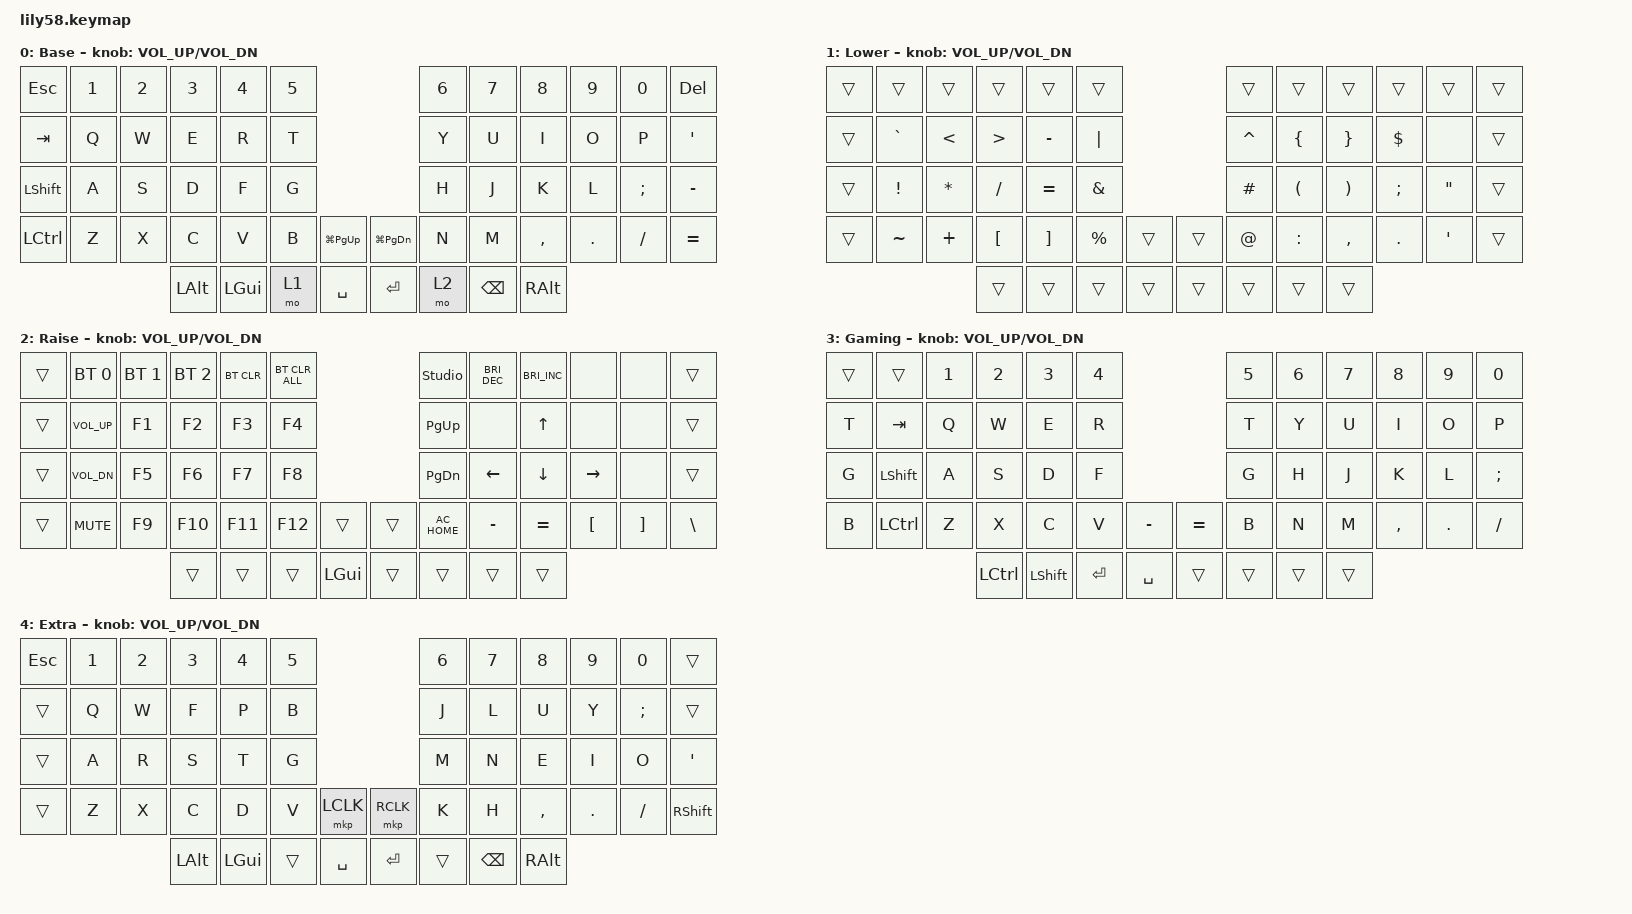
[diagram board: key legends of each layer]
/*
 * Copyright (c) 2020 The ZMK Contributors
 *
 * SPDX-License-Identifier: MIT
 */

#include <behaviors.dtsi>
#include <dt-bindings/zmk/bt.h>
#include <dt-bindings/zmk/keys.h>
#include <dt-bindings/zmk/pointing.h>

#define default_layer 0
#define lower_layer 1
#define raise_layer 2
#define adjust_layer 3
#define extra_layer 4

/ {
    combos {
        compatible = "zmk,combos";

        Gaming {
            bindings = <&tog 3>;
            key-positions = <55 52 3>;
        };

        Default {
            bindings = <&tog 4>;
            key-positions = <52 42 55 4>;
        };

        GotoDefault {
            bindings = <&to 0>;
            key-positions = <1 52 55>;
        };
    };

    keymap {
        compatible = "zmk,keymap";

        default_layer {
            display-name = "Base";

            // ------------------------------------------------------------------------------------------------------------
            // |  ESC  |  1  |  2  |  3   |  4   |  5   |                   |  6   |  7    |  8    |  9   |   0   |   `   |
            // |  TAB  |  Q  |  W  |  E   |  R   |  T   |                   |  Y   |  U    |  I    |  O   |   P   |   -   |
            // |  CTRL |  A  |  S  |  D   |  F   |  G   |                   |  H   |  J    |  K    |  L   |   ;   |   '   |
            // | SHIFT |  Z  |  X  |  C   |  V   |  B   |   "["  |  |  "]"  |  N   |  M    |  ,    |  .   |   /   | SHIFT |
            //                     | ALT  | GUI  | LOWER|  SPACE |  | ENTER | RAISE| BSPC  | GUI   |

            bindings = <
&kp ESC         &kp N1  &kp N2  &kp N3        &kp N4        &kp N5                                        &kp N6  &kp N7         &kp N8     &kp N9   &kp N0    &kp DELETE
&kp TAB         &kp Q   &kp W   &kp E         &kp R         &kp T                                         &kp Y   &kp U          &kp I      &kp O    &kp P     &kp SQT
&kp LEFT_SHIFT  &kp A   &kp S   &kp D         &kp F         &kp G                                         &kp H   &kp J          &kp K      &kp L    &kp SEMI  &kp MINUS
&kp LCTRL       &kp Z   &kp X   &kp C         &kp V         &kp B   &kp LG(PAGE_UP)    &kp LG(PAGE_DOWN)  &kp N   &kp M          &kp COMMA  &kp DOT  &kp FSLH  &kp EQUAL
                                &kp LEFT_ALT  &kp LEFT_GUI  &mo 1   &kp SPACE          &kp RET            &mo 2   &kp BACKSPACE  &kp RALT
            >;

            sensor-bindings = <&inc_dec_kp C_VOL_UP C_VOL_DN>;
        };

        lower_layer {
            display-name = "Lower";

            // ------------------------------------------------------------------------------------------------------------
            // | BTCLR | BT1 | BT2 |  BT3 |  BT4 |  BT5 |                   |      |       |       |      |       |       |
            // |  F1   |  F2 |  F3 |  F4  |  F5  |  F6  |                   |  F7  |  F8   |  F9   |  F10 |  F11  |  F12  |
            // |   `   |  !  |  @  |  #   |  $   |  %   |                   |  ^   |  &    |  *    |  (   |   )   |   ~   |
            // |       |     |     |      |      |      |        |  |       |      |  _    |  +    |  {   |   }   |  "|"  |
            //                     |      |      |      |        |  |       |      |       |       |

            bindings = <
&trans  &trans     &trans         &trans            &trans     &trans                           &trans     &trans                &trans                 &trans      &trans             &trans
&trans  &kp GRAVE  &kp LESS_THAN  &kp GREATER_THAN  &kp MINUS  &kp PIPE                         &kp CARET  &kp LEFT_BRACE        &kp RIGHT_BRACE        &kp DOLLAR  &none              &trans
&trans  &kp EXCL   &kp ASTERISK   &kp FSLH          &kp EQUAL  &kp AMPERSAND                    &kp HASH   &kp LEFT_PARENTHESIS  &kp RIGHT_PARENTHESIS  &kp SEMI    &kp DOUBLE_QUOTES  &trans
&trans  &kp TILDE  &kp PLUS       &kp LBKT          &kp RBKT   &kp PERCENT    &trans    &trans  &kp AT     &kp COLON             &kp COMMA              &kp DOT     &kp SQT            &trans
                                  &trans            &trans     &trans         &trans    &trans  &trans     &trans                &trans
            >;

            sensor-bindings = <&inc_dec_kp C_VOL_UP C_VOL_DN>;
        };

        raise_layer {
            display-name = "Raise";

            // ------------------------------------------------------------------------------------------------------------
            // |       |     |     |      |      |      |                   |      |       |       |      |       |       |
            // |   `   |  1  |  2  |  3   |  4   |  5   |                   |  6   |   7   |   8   |  9   |   0   |       |
            // |   F1  |  F2 |  F3 |  F4  |  F5  |  F6  |                   |      |   <-  |   v   |  ^   |  ->   |       |
            // |   F7  |  F8 |  F9 |  F10 |  F11 |  F12 |        |  |       |  +   |   -   |   =   |  [   |   ]   |   \   |
            //                     |      |      |      |        |  |       |      |       |       |

            bindings = <
&trans  &bt BT_SEL 0     &bt BT_SEL 1  &bt BT_SEL 2  &bt BT_CLR  &bt BT_CLR_ALL                          &studio_unlock  &kp C_BRIGHTNESS_DEC  &kp C_BRIGHTNESS_INC  &none      &none     &trans
&trans  &kp C_VOLUME_UP  &kp F1        &kp F2        &kp F3      &kp F4                                  &kp PG_UP       &none                 &kp UP_ARROW          &none      &none     &trans
&trans  &kp C_VOL_DN     &kp F5        &kp F6        &kp F7      &kp F8                                  &kp PAGE_DOWN   &kp LEFT              &kp DOWN              &kp RIGHT  &none     &trans
&trans  &kp K_MUTE       &kp F9        &kp F10       &kp F11     &kp F12         &trans          &trans  &kp C_AC_HOME   &kp MINUS             &kp EQUAL             &kp LBKT   &kp RBKT  &kp BSLH
                                       &trans        &trans      &trans          &kp LEFT_GUI    &trans  &trans          &trans                &trans
            >;

            sensor-bindings = <&inc_dec_kp C_VOL_UP C_VOL_DN>;
        };

        Gaming {
            display-name = "Gaming";

            // ------------------------------------------------------------------------------------------------------------
            // |       |     |     |      |      |      |                   |      |       |       |      |       |       |
            // |   `   |  1  |  2  |  3   |  4   |  5   |                   |  6   |   7   |   8   |  9   |   0   |       |
            // |   F1  |  F2 |  F3 |  F4  |  F5  |  F6  |                   |      |   <-  |   v   |  ^   |  ->   |       |
            // |   F7  |  F8 |  F9 |  F10 |  F11 |  F12 |        |  |       |  +   |   -   |   =   |  [   |   ]   |   \   |
            //                     |      |      |      |        |  |       |      |       |       |

            bindings = <
&trans  &trans     &kp N1  &kp N2     &kp N3     &kp N4                           &kp N5  &kp N6  &kp N7  &kp N8     &kp N9   &kp N0
&kp T   &kp TAB    &kp Q   &kp W      &kp E      &kp R                            &kp T   &kp Y   &kp U   &kp I      &kp O    &kp P
&kp G   &kp LSHFT  &kp A   &kp S      &kp D      &kp F                            &kp G   &kp H   &kp J   &kp K      &kp L    &kp SEMI
&kp B   &kp LCTRL  &kp Z   &kp X      &kp C      &kp V    &kp MINUS    &kp EQUAL  &kp B   &kp N   &kp M   &kp COMMA  &kp DOT  &kp FSLH
                           &kp LCTRL  &kp LSHFT  &kp RET  &kp SPACE    &trans     &trans  &trans  &trans
            >;

            sensor-bindings = <&inc_dec_kp C_VOL_UP C_VOL_DN>;
        };

        colemak_dh {
            display-name = "Extra";

            // ------------------------------------------------------------------------------------------------------------
            // |       |     |     |      |      |      |                   |      |       |       |      |       |       |
            // |   `   |  1  |  2  |  3   |  4   |  5   |                   |  6   |   7   |   8   |  9   |   0   |       |
            // |   F1  |  F2 |  F3 |  F4  |  F5  |  F6  |                   |      |   <-  |   v   |  ^   |  ->   |       |
            // |   F7  |  F8 |  F9 |  F10 |  F11 |  F12 |        |  |       |  +   |   -   |   =   |  [   |   ]   |   \   |
            //                     |      |      |      |        |  |       |      |       |       |

            bindings = <
&kp ESC  &kp N1  &kp N2  &kp N3    &kp N4    &kp N5                          &kp N6  &kp N7    &kp N8     &kp N9   &kp N0    &trans
&trans   &kp Q   &kp W   &kp F     &kp P     &kp B                           &kp J   &kp L     &kp U      &kp Y    &kp SEMI  &trans
&trans   &kp A   &kp R   &kp S     &kp T     &kp G                           &kp M   &kp N     &kp E      &kp I    &kp O     &kp APOS
&trans   &kp Z   &kp X   &kp C     &kp D     &kp V   &mkp LCLK    &mkp RCLK  &kp K   &kp H     &kp COMMA  &kp DOT  &kp FSLH  &kp RSHFT
                         &kp LALT  &kp LGUI  &trans  &kp SPACE    &kp ENTER  &trans  &kp BSPC  &kp RALT
            >;

            sensor-bindings = <&inc_dec_kp C_VOL_UP C_VOL_DN>;
        };
    };
};
